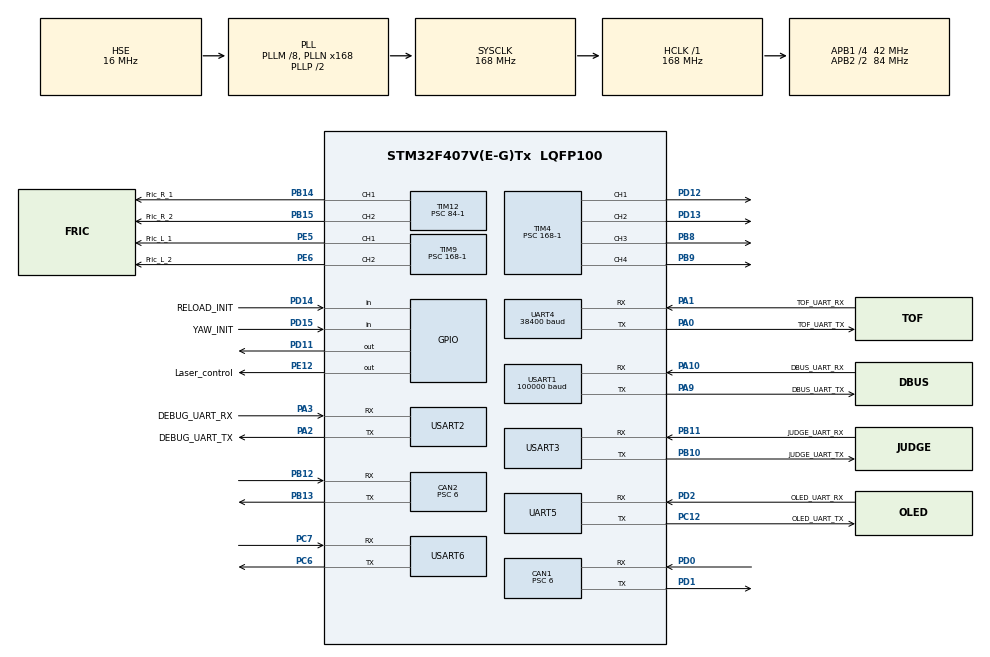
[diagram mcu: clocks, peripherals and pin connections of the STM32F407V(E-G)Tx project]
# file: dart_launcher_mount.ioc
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CAN1.ABOM=ENABLE
CAN1.BS1=CAN_BS1_3TQ
CAN1.BS2=CAN_BS2_3TQ
CAN1.CalculateBaudRate=1000000
CAN1.CalculateTimeBit=1000
CAN1.CalculateTimeQuantum=142.85714285714286
CAN1.Prescaler=6
CAN2.ABOM=ENABLE
CAN2.BS1=CAN_BS1_3TQ
CAN2.BS2=CAN_BS2_3TQ
CAN2.CalculateBaudRate=1000000
CAN2.CalculateTimeBit=1000
CAN2.CalculateTimeQuantum=142.85714285714286
CAN2.Prescaler=6
Dma.Request0=UART4_RX
Dma.Request1=UART4_TX
Dma.Request10=USART6_TX
Dma.Request11=USART6_RX
Dma.Request2=UART5_RX
Dma.Request3=UART5_TX
Dma.Request4=USART1_RX
Dma.Request5=USART1_TX
Dma.Request6=USART2_RX
Dma.Request7=USART2_TX
Dma.Request8=USART3_RX
Dma.Request9=USART3_TX
Dma.UART4_RX.0.Direction=DMA_PERIPH_TO_MEMORY
Dma.UART4_RX.0.FIFOMode=DMA_FIFOMODE_DISABLE
Dma.UART4_RX.0.Instance=DMA1_Stream2
Dma.UART4_RX.0.MemDataAlignment=DMA_MDATAALIGN_BYTE
Dma.UART4_RX.0.MemInc=DMA_MINC_ENABLE
Dma.UART4_RX.0.Mode=DMA_NORMAL
Dma.UART4_RX.0.PeriphDataAlignment=DMA_PDATAALIGN_BYTE
Dma.UART4_RX.0.PeriphInc=DMA_PINC_DISABLE
Dma.UART4_RX.0.Priority=DMA_PRIORITY_LOW
Dma.UART4_TX.1.Direction=DMA_MEMORY_TO_PERIPH
Dma.UART4_TX.1.FIFOMode=DMA_FIFOMODE_DISABLE
Dma.UART4_TX.1.Instance=DMA1_Stream4
Dma.UART4_TX.1.MemDataAlignment=DMA_MDATAALIGN_BYTE
Dma.UART4_TX.1.MemInc=DMA_MINC_ENABLE
Dma.UART4_TX.1.Mode=DMA_NORMAL
Dma.UART4_TX.1.PeriphDataAlignment=DMA_PDATAALIGN_BYTE
Dma.UART4_TX.1.PeriphInc=DMA_PINC_DISABLE
Dma.UART4_TX.1.Priority=DMA_PRIORITY_LOW
Dma.UART5_RX.2.Direction=DMA_PERIPH_TO_MEMORY
Dma.UART5_RX.2.FIFOMode=DMA_FIFOMODE_DISABLE
Dma.UART5_RX.2.Instance=DMA1_Stream0
Dma.UART5_RX.2.MemDataAlignment=DMA_MDATAALIGN_BYTE
Dma.UART5_RX.2.MemInc=DMA_MINC_ENABLE
Dma.UART5_RX.2.Mode=DMA_NORMAL
Dma.UART5_RX.2.PeriphDataAlignment=DMA_PDATAALIGN_BYTE
Dma.UART5_RX.2.PeriphInc=DMA_PINC_DISABLE
Dma.UART5_RX.2.Priority=DMA_PRIORITY_LOW
Dma.UART5_TX.3.Direction=DMA_MEMORY_TO_PERIPH
Dma.UART5_TX.3.FIFOMode=DMA_FIFOMODE_DISABLE
Dma.UART5_TX.3.Instance=DMA1_Stream7
Dma.UART5_TX.3.MemDataAlignment=DMA_MDATAALIGN_BYTE
Dma.UART5_TX.3.MemInc=DMA_MINC_ENABLE
Dma.UART5_TX.3.Mode=DMA_NORMAL
Dma.UART5_TX.3.PeriphDataAlignment=DMA_PDATAALIGN_BYTE
Dma.UART5_TX.3.PeriphInc=DMA_PINC_DISABLE
Dma.UART5_TX.3.Priority=DMA_PRIORITY_LOW
Dma.USART1_RX.4.Direction=DMA_PERIPH_TO_MEMORY
Dma.USART1_RX.4.FIFOMode=DMA_FIFOMODE_DISABLE
Dma.USART1_RX.4.Instance=DMA2_Stream2
Dma.USART1_RX.4.MemDataAlignment=DMA_MDATAALIGN_BYTE
Dma.USART1_RX.4.MemInc=DMA_MINC_ENABLE
Dma.USART1_RX.4.Mode=DMA_NORMAL
Dma.USART1_RX.4.PeriphDataAlignment=DMA_PDATAALIGN_BYTE
Dma.USART1_RX.4.PeriphInc=DMA_PINC_DISABLE
Dma.USART1_RX.4.Priority=DMA_PRIORITY_LOW
Dma.USART1_TX.5.Direction=DMA_MEMORY_TO_PERIPH
Dma.USART1_TX.5.FIFOMode=DMA_FIFOMODE_DISABLE
Dma.USART1_TX.5.Instance=DMA2_Stream7
Dma.USART1_TX.5.MemDataAlignment=DMA_MDATAALIGN_BYTE
Dma.USART1_TX.5.MemInc=DMA_MINC_ENABLE
Dma.USART1_TX.5.Mode=DMA_NORMAL
Dma.USART1_TX.5.PeriphDataAlignment=DMA_PDATAALIGN_BYTE
Dma.USART1_TX.5.PeriphInc=DMA_PINC_DISABLE
Dma.USART1_TX.5.Priority=DMA_PRIORITY_LOW
Dma.USART2_RX.6.Direction=DMA_PERIPH_TO_MEMORY
Dma.USART2_RX.6.FIFOMode=DMA_FIFOMODE_DISABLE
Dma.USART2_RX.6.Instance=DMA1_Stream5
Dma.USART2_RX.6.MemDataAlignment=DMA_MDATAALIGN_BYTE
Dma.USART2_RX.6.MemInc=DMA_MINC_ENABLE
Dma.USART2_RX.6.Mode=DMA_NORMAL
Dma.USART2_RX.6.PeriphDataAlignment=DMA_PDATAALIGN_BYTE
Dma.USART2_RX.6.PeriphInc=DMA_PINC_DISABLE
Dma.USART2_RX.6.Priority=DMA_PRIORITY_LOW
Dma.USART2_TX.7.Direction=DMA_MEMORY_TO_PERIPH
Dma.USART2_TX.7.FIFOMode=DMA_FIFOMODE_DISABLE
Dma.USART2_TX.7.Instance=DMA1_Stream6
Dma.USART2_TX.7.MemDataAlignment=DMA_MDATAALIGN_BYTE
Dma.USART2_TX.7.MemInc=DMA_MINC_ENABLE
Dma.USART2_TX.7.Mode=DMA_NORMAL
Dma.USART2_TX.7.PeriphDataAlignment=DMA_PDATAALIGN_BYTE
Dma.USART2_TX.7.PeriphInc=DMA_PINC_DISABLE
Dma.USART2_TX.7.Priority=DMA_PRIORITY_LOW
Dma.USART3_RX.8.Direction=DMA_PERIPH_TO_MEMORY
Dma.USART3_RX.8.FIFOMode=DMA_FIFOMODE_DISABLE
Dma.USART3_RX.8.Instance=DMA1_Stream1
Dma.USART3_RX.8.MemDataAlignment=DMA_MDATAALIGN_BYTE
Dma.USART3_RX.8.MemInc=DMA_MINC_ENABLE
Dma.USART3_RX.8.Mode=DMA_NORMAL
Dma.USART3_RX.8.PeriphDataAlignment=DMA_PDATAALIGN_BYTE
Dma.USART3_RX.8.PeriphInc=DMA_PINC_DISABLE
Dma.USART3_RX.8.Priority=DMA_PRIORITY_LOW
Dma.USART3_TX.9.Direction=DMA_MEMORY_TO_PERIPH
Dma.USART3_TX.9.FIFOMode=DMA_FIFOMODE_DISABLE
Dma.USART3_TX.9.Instance=DMA1_Stream3
Dma.USART3_TX.9.MemDataAlignment=DMA_MDATAALIGN_BYTE
Dma.USART3_TX.9.MemInc=DMA_MINC_ENABLE
Dma.USART3_TX.9.Mode=DMA_NORMAL
Dma.USART3_TX.9.PeriphDataAlignment=DMA_PDATAALIGN_BYTE
Dma.USART3_TX.9.PeriphInc=DMA_PINC_DISABLE
Dma.USART3_TX.9.Priority=DMA_PRIORITY_LOW
Dma.USART6_RX.11.Direction=DMA_PERIPH_TO_MEMORY
Dma.USART6_RX.11.FIFOMode=DMA_FIFOMODE_DISABLE
Dma.USART6_RX.11.Instance=DMA2_Stream1
Dma.USART6_RX.11.MemDataAlignment=DMA_MDATAALIGN_BYTE
Dma.USART6_RX.11.MemInc=DMA_MINC_ENABLE
Dma.USART6_RX.11.Mode=DMA_NORMAL
Dma.USART6_RX.11.PeriphDataAlignment=DMA_PDATAALIGN_BYTE
Dma.USART6_RX.11.PeriphInc=DMA_PINC_DISABLE
Dma.USART6_RX.11.Priority=DMA_PRIORITY_LOW
Dma.USART6_TX.10.Direction=DMA_MEMORY_TO_PERIPH
Dma.USART6_TX.10.FIFOMode=DMA_FIFOMODE_DISABLE
Dma.USART6_TX.10.Instance=DMA2_Stream6
Dma.USART6_TX.10.MemDataAlignment=DMA_MDATAALIGN_BYTE
Dma.USART6_TX.10.MemInc=DMA_MINC_ENABLE
Dma.USART6_TX.10.Mode=DMA_NORMAL
Dma.USART6_TX.10.PeriphDataAlignment=DMA_PDATAALIGN_BYTE
Dma.USART6_TX.10.PeriphInc=DMA_PINC_DISABLE
Dma.USART6_TX.10.Priority=DMA_PRIORITY_LOW
FREERTOS.INCLUDE_uxTaskGetStackHighWaterMark=1
FREERTOS.INCLUDE_vTaskDelayUntil=1
FREERTOS.Tasks01=defaultTask,0,128,StartDefaultTask,Default,NULL,Dynamic,NULL,NULL
FREERTOS.configUSE_CO_ROUTINES=0
FREERTOS.configUSE_TIMERS=1
Mcu.Family=STM32F4
Mcu.Name=STM32F407V(E-G)Tx
Mcu.Package=LQFP100
NVIC.CAN1_RX0_IRQn=true\:5\:0\:false\:false\:true\:true\:true\:true\:true
NVIC.CAN1_RX1_IRQn=true\:5\:0\:false\:false\:true\:true\:true\:true\:true
NVIC.CAN1_SCE_IRQn=true\:5\:0\:false\:false\:true\:true\:true\:true\:true
NVIC.CAN1_TX_IRQn=true\:5\:0\:false\:false\:true\:true\:true\:true\:true
NVIC.CAN2_RX0_IRQn=true\:5\:0\:false\:false\:true\:true\:true\:true\:true
NVIC.CAN2_RX1_IRQn=true\:5\:0\:false\:false\:true\:true\:true\:true\:true
NVIC.CAN2_SCE_IRQn=true\:5\:0\:false\:false\:true\:true\:true\:true\:true
NVIC.CAN2_TX_IRQn=true\:5\:0\:false\:false\:true\:true\:true\:true\:true
NVIC.DMA1_Stream0_IRQn=true\:5\:0\:false\:false\:true\:true\:false\:true\:true
NVIC.DMA1_Stream1_IRQn=true\:5\:0\:false\:false\:true\:true\:false\:true\:true
NVIC.DMA1_Stream2_IRQn=true\:5\:0\:false\:false\:true\:true\:false\:true\:true
NVIC.DMA1_Stream3_IRQn=true\:5\:0\:false\:false\:true\:true\:false\:true\:true
NVIC.DMA1_Stream4_IRQn=true\:5\:0\:false\:false\:true\:true\:false\:true\:true
NVIC.DMA1_Stream5_IRQn=true\:5\:0\:false\:false\:true\:true\:false\:true\:true
NVIC.DMA1_Stream6_IRQn=true\:5\:0\:false\:false\:true\:true\:false\:true\:true
NVIC.DMA1_Stream7_IRQn=true\:5\:0\:false\:false\:true\:true\:false\:true\:true
NVIC.DMA2_Stream1_IRQn=true\:5\:0\:false\:false\:true\:true\:false\:true\:true
NVIC.DMA2_Stream2_IRQn=true\:5\:0\:false\:false\:true\:true\:false\:true\:true
NVIC.DMA2_Stream6_IRQn=true\:5\:0\:false\:false\:true\:true\:false\:true\:true
NVIC.DMA2_Stream7_IRQn=true\:5\:0\:false\:false\:true\:true\:false\:true\:true
NVIC.PriorityGroup=NVIC_PRIORITYGROUP_4
NVIC.TIM1_BRK_TIM9_IRQn=true\:5\:0\:false\:false\:true\:true\:true\:true\:true
NVIC.TIM2_IRQn=true\:15\:0\:false\:false\:true\:false\:false\:true\:true
NVIC.TIM3_IRQn=true\:5\:0\:false\:false\:true\:true\:true\:true\:true
NVIC.TIM4_IRQn=true\:5\:0\:false\:false\:true\:true\:true\:true\:true
NVIC.TIM5_IRQn=true\:5\:0\:false\:false\:true\:true\:true\:true\:true
NVIC.TIM8_BRK_TIM12_IRQn=true\:5\:0\:false\:false\:true\:true\:true\:true\:true
NVIC.TimeBase=TIM2_IRQn
NVIC.TimeBaseIP=TIM2
NVIC.UART4_IRQn=true\:5\:0\:false\:false\:true\:true\:false\:true\:true
NVIC.UART5_IRQn=true\:5\:0\:false\:false\:true\:true\:false\:true\:true
NVIC.USART1_IRQn=true\:5\:0\:false\:false\:true\:true\:false\:true\:true
NVIC.USART2_IRQn=true\:5\:0\:false\:false\:true\:true\:false\:true\:true
NVIC.USART3_IRQn=true\:5\:0\:false\:false\:true\:true\:true\:true\:true
NVIC.USART6_IRQn=true\:5\:0\:false\:false\:true\:true\:false\:true\:true
PA0-WKUP.GPIO_Label=TOF_UART_TX
PA0-WKUP.Mode=Asynchronous
PA0-WKUP.Signal=UART4_TX
PA1.GPIO_Label=TOF_UART_RX
PA1.Mode=Asynchronous
PA1.Signal=UART4_RX
PA10.GPIO_Label=DBUS_UART_RX
PA10.Mode=Asynchronous
PA10.Signal=USART1_RX
PA13.Mode=Serial_Wire
PA13.Signal=SYS_JTMS-SWDIO
PA14.Mode=Serial_Wire
PA14.Signal=SYS_JTCK-SWCLK
PA2.GPIO_Label=DEBUG_UART_TX
PA2.Mode=Asynchronous
PA2.Signal=USART2_TX
PA3.GPIO_Label=DEBUG_UART_RX
PA3.Mode=Asynchronous
PA3.Signal=USART2_RX
PA9.GPIO_Label=DBUS_UART_TX
PA9.Mode=Asynchronous
PA9.Signal=USART1_TX
PB10.GPIO_Label=JUDGE_UART_TX
PB10.Mode=Asynchronous
PB10.Signal=USART3_TX
PB11.GPIO_Label=JUDGE_UART_RX
PB11.Mode=Asynchronous
PB11.Signal=USART3_RX
PB12.Mode=CAN_Activate
PB12.Signal=CAN2_RX
PB13.Mode=CAN_Activate
PB13.Signal=CAN2_TX
PB14.GPIO_Label=Fric_R_1
PB14.Signal=S_TIM12_CH1
PB15.GPIO_Label=Fric_R_2
PB15.Signal=S_TIM12_CH2
PB8.Signal=S_TIM4_CH3
PB9.Signal=S_TIM4_CH4
PC12.GPIO_Label=OLED_UART_TX
PC12.Mode=Asynchronous
PC12.Signal=UART5_TX
PC6.Mode=Asynchronous
PC6.Signal=USART6_TX
PC7.Mode=Asynchronous
PC7.Signal=USART6_RX
PD0.Mode=CAN_Activate
PD0.Signal=CAN1_RX
PD1.Mode=CAN_Activate
PD1.Signal=CAN1_TX
PD11.Signal=GPIO_Output
PD12.Signal=S_TIM4_CH1
PD13.Signal=S_TIM4_CH2
PD14.GPIO_Label=RELOAD_INIT
PD14.GPIO_PuPd=GPIO_PULLUP
PD14.Signal=GPIO_Input
PD15.GPIO_Label=YAW_INIT
PD15.GPIO_PuPd=GPIO_PULLUP
PD15.Signal=GPIO_Input
PD2.GPIO_Label=OLED_UART_RX
PD2.Mode=Asynchronous
PD2.Signal=UART5_RX
PE12.GPIO_Label=Laser_control
PE12.Signal=GPIO_Output
PE5.GPIO_Label=Fric_L_1
PE5.Signal=S_TIM9_CH1
PE6.GPIO_Label=Fric_L_2
PE6.Signal=S_TIM9_CH2
PH0-OSC_IN.Mode=HSE-External-Oscillator
PH0-OSC_IN.Signal=RCC_OSC_IN
PH1-OSC_OUT.Mode=HSE-External-Oscillator
PH1-OSC_OUT.Signal=RCC_OSC_OUT
ProjectManager.HeapSize=0x1000
ProjectManager.StackSize=0x600
ProjectManager.TargetToolchain=MDK-ARM V5.32
RCC.48MHZClocksFreq_Value=84000000
RCC.AHBFreq_Value=168000000
RCC.APB1CLKDivider=RCC_HCLK_DIV4
RCC.APB1Freq_Value=42000000
RCC.APB1TimFreq_Value=84000000
RCC.APB2CLKDivider=RCC_HCLK_DIV2
RCC.APB2Freq_Value=84000000
RCC.APB2TimFreq_Value=168000000
RCC.CortexFreq_Value=168000000
RCC.HCLKFreq_Value=168000000
RCC.HSE_VALUE=16000000
RCC.HSI_VALUE=16000000
RCC.LSE_VALUE=32768
RCC.PLLM=8
RCC.PLLN=168
RCC.PLLSourceVirtual=RCC_PLLSOURCE_HSE
RCC.SYSCLKFreq_VALUE=168000000
RCC.SYSCLKSource=RCC_SYSCLKSOURCE_PLLCLK
RCC.VCOOutputFreq_Value=336000000
SH.S_TIM12_CH1.0=TIM12_CH1,PWM Generation1 CH1
SH.S_TIM12_CH2.0=TIM12_CH2,PWM Generation2 CH2
SH.S_TIM4_CH1.0=TIM4_CH1,PWM Generation1 CH1
SH.S_TIM4_CH2.0=TIM4_CH2,PWM Generation2 CH2
SH.S_TIM4_CH3.0=TIM4_CH3,PWM Generation3 CH3
SH.S_TIM4_CH4.0=TIM4_CH4,PWM Generation4 CH4
SH.S_TIM9_CH1.0=TIM9_CH1,PWM Generation1 CH1
SH.S_TIM9_CH2.0=TIM9_CH2,PWM Generation2 CH2
TIM12.Channel-PWM\ Generation1\ CH1=TIM_CHANNEL_1
TIM12.Channel-PWM\ Generation2\ CH2=TIM_CHANNEL_2
TIM12.Prescaler=84-1
TIM3.Period=999
TIM3.Prescaler=41
TIM4.Channel-PWM\ Generation1\ CH1=TIM_CHANNEL_1
TIM4.Channel-PWM\ Generation2\ CH2=TIM_CHANNEL_2
TIM4.Channel-PWM\ Generation3\ CH3=TIM_CHANNEL_3
TIM4.Channel-PWM\ Generation4\ CH4=TIM_CHANNEL_4
TIM4.Prescaler=168-1
TIM5.Prescaler=8400-1
TIM9.Channel-PWM\ Generation1\ CH1=TIM_CHANNEL_1
TIM9.Channel-PWM\ Generation2\ CH2=TIM_CHANNEL_2
TIM9.Prescaler=168-1
UART4.BaudRate=38400
UART4.VirtualMode=Asynchronous
UART5.VirtualMode=Asynchronous
USART1.BaudRate=100000
USART1.Parity=PARITY_EVEN
USART1.VirtualMode=VM_ASYNC
USART1.WordLength=WORDLENGTH_9B
USART2.VirtualMode=VM_ASYNC
USART3.VirtualMode=VM_ASYNC
USART6.VirtualMode=VM_ASYNC
VP_FREERTOS_VS_CMSIS_V1.Mode=CMSIS_V1
VP_SYS_VS_tim2.Mode=TIM2
VP_TIM12_VS_ClockSourceINT.Mode=Internal
VP_TIM3_VS_ClockSourceINT.Mode=Internal
VP_TIM4_VS_ClockSourceINT.Mode=Internal
VP_TIM5_VS_ClockSourceINT.Mode=Internal
VP_TIM9_VS_ClockSourceINT.Mode=Internal
board=custom

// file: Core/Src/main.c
/* USER CODE BEGIN Header */
/**
  ******************************************************************************
  * @file           : main.c
  * @brief          : Main program body
  ******************************************************************************
  * @attention
  *
  * Copyright (c) 2025 STMicroelectronics.
  * All rights reserved.
  *
  * This software is licensed under terms that can be found in the LICENSE file
  * in the root directory of this software component.
  * If no LICENSE file comes with this software, it is provided AS-IS.
  *
  ******************************************************************************
  */
/* USER CODE END Header */
#include "main.h"
#include "cmsis_os.h"
#include "can.h"
#include "dma.h"
#include "tim.h"
#include "usart.h"
#include "gpio.h"

/* USER CODE BEGIN Includes */
#include "can_comm.h"
#include "reload_task.h"
#include "bsp_usart.h"
#include "micro_swicth.h"
/* USER CODE END Includes */

void SystemClock_Config(void);
void MX_FREERTOS_Init(void);

int main(void)
{

  /* MCU Configuration--------------------------------------------------------*/

  /* Reset of all peripherals, Initializes the Flash interface and the Systick. */
  HAL_Init();

  /* Configure the system clock */
  SystemClock_Config();

  /* Initialize all configured peripherals */
  MX_GPIO_Init();
  MX_DMA_Init();
  MX_CAN1_Init();
  MX_CAN2_Init();
  MX_UART4_Init();
  MX_UART5_Init();
  MX_USART1_UART_Init();
  MX_USART2_UART_Init();
  MX_USART3_UART_Init();
  MX_USART6_UART_Init();
  MX_TIM4_Init();
  MX_TIM5_Init();
  MX_TIM9_Init();
  MX_TIM12_Init();
  MX_TIM3_Init();
  /* USER CODE BEGIN 2 */
	Can_Device_Init();
	USER_UART_Init();
	HAL_TIM_Base_Start_IT(&htim3);
  /* USER CODE END 2 */

  /* Call init function for freertos objects (in cmsis_os2.c) */
  MX_FREERTOS_Init();

  /* Start scheduler */
  osKernelStart();

  /* We should never get here as control is now taken by the scheduler */

  /* Infinite loop */
  while (1)
  {

  }
}

void SystemClock_Config(void)
{
  RCC_OscInitTypeDef RCC_OscInitStruct = {0};
  RCC_ClkInitTypeDef RCC_ClkInitStruct = {0};

  /** Configure the main internal regulator output voltage
  */
  __HAL_RCC_PWR_CLK_ENABLE();
  __HAL_PWR_VOLTAGESCALING_CONFIG(PWR_REGULATOR_VOLTAGE_SCALE1);

  /** Initializes the RCC Oscillators according to the specified parameters
  * in the RCC_OscInitTypeDef structure.
  */
  RCC_OscInitStruct.OscillatorType = RCC_OSCILLATORTYPE_HSE;
  RCC_OscInitStruct.HSEState = RCC_HSE_ON;
  RCC_OscInitStruct.PLL.PLLState = RCC_PLL_ON;
  RCC_OscInitStruct.PLL.PLLSource = RCC_PLLSOURCE_HSE;
  RCC_OscInitStruct.PLL.PLLM = 8;
  RCC_OscInitStruct.PLL.PLLN = 168;
  RCC_OscInitStruct.PLL.PLLP = RCC_PLLP_DIV2;
  RCC_OscInitStruct.PLL.PLLQ = 4;
  if (HAL_RCC_OscConfig(&RCC_OscInitStruct) != HAL_OK)
  {
    Error_Handler();
  }

  /** Initializes the CPU, AHB and APB buses clocks
  */
  RCC_ClkInitStruct.ClockType = RCC_CLOCKTYPE_HCLK|RCC_CLOCKTYPE_SYSCLK
                              |RCC_CLOCKTYPE_PCLK1|RCC_CLOCKTYPE_PCLK2;
  RCC_ClkInitStruct.SYSCLKSource = RCC_SYSCLKSOURCE_PLLCLK;
  RCC_ClkInitStruct.AHBCLKDivider = RCC_SYSCLK_DIV1;
  RCC_ClkInitStruct.APB1CLKDivider = RCC_HCLK_DIV4;
  RCC_ClkInitStruct.APB2CLKDivider = RCC_HCLK_DIV2;

  if (HAL_RCC_ClockConfig(&RCC_ClkInitStruct, FLASH_LATENCY_5) != HAL_OK)
  {
    Error_Handler();
  }
}

void HAL_TIM_PeriodElapsedCallback(TIM_HandleTypeDef *htim)
{
  /* USER CODE BEGIN Callback 0 */
	if (htim->Instance == TIM3)//1ms��ʱ��
	{
		MicroSwicth_Callback();
		Reload_Tick();
	}
  /* USER CODE END Callback 0 */
  if (htim->Instance == TIM2)
  {
    HAL_IncTick();
  }
}

void Error_Handler(void)
{
  __disable_irq();
  while (1)
  {
  }
}

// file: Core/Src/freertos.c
/* USER CODE BEGIN Header */
/**
  ******************************************************************************
  * File Name          : freertos.c
  * Description        : Code for freertos applications
  ******************************************************************************
  * @attention
  *
  * Copyright (c) 2025 STMicroelectronics.
  * All rights reserved.
  *
  * This software is licensed under terms that can be found in the LICENSE file
  * in the root directory of this software component.
  * If no LICENSE file comes with this software, it is provided AS-IS.
  *
  ******************************************************************************
  */
/* USER CODE END Header */

#include "FreeRTOS.h"
#include "task.h"
#include "main.h"
#include "cmsis_os.h"

/* USER CODE BEGIN Includes */
#include "can_comm.h"

#include "shoot_task.h"
#include "reload_task.h"
#include "gimbal_task.h"

#include "temp_task.h"

#include "modeswitch_task.h"

#include "debug_task.h"
/* USER CODE END Includes */

osThreadId defaultTaskHandle;

/* USER CODE BEGIN FunctionPrototypes */
osThreadId can_send_task_handle;

osThreadId shoot_task_handle;
osThreadId reload_task_handle;
osThreadId giambal_task_handle;
osThreadId modeswitch_task_handle;

osThreadId temp_task_handle;
osThreadId serial_screen_task_handle;

osThreadId debug_task_handle;
/* USER CODE END FunctionPrototypes */

void StartDefaultTask(void const * argument);

void MX_FREERTOS_Init(void); /* (MISRA C 2004 rule 8.1) */

/* GetIdleTaskMemory prototype (linked to static allocation support) */
void vApplicationGetIdleTaskMemory( StaticTask_t **ppxIdleTaskTCBBuffer, StackType_t **ppxIdleTaskStackBuffer, uint32_t *pulIdleTaskStackSize );

/* GetTimerTaskMemory prototype (linked to static allocation support) */
void vApplicationGetTimerTaskMemory( StaticTask_t **ppxTimerTaskTCBBuffer, StackType_t **ppxTimerTaskStackBuffer, uint32_t *pulTimerTaskStackSize );

/* USER CODE BEGIN GET_IDLE_TASK_MEMORY */
static StaticTask_t xIdleTaskTCBBuffer;
static StackType_t xIdleStack[configMINIMAL_STACK_SIZE];

void vApplicationGetIdleTaskMemory( StaticTask_t **ppxIdleTaskTCBBuffer, StackType_t **ppxIdleTaskStackBuffer, uint32_t *pulIdleTaskStackSize )
{
  *ppxIdleTaskTCBBuffer = &xIdleTaskTCBBuffer;
  *ppxIdleTaskStackBuffer = &xIdleStack[0];
  *pulIdleTaskStackSize = configMINIMAL_STACK_SIZE;
  /* place for user code */
}
/* USER CODE END GET_IDLE_TASK_MEMORY */

/* USER CODE BEGIN GET_TIMER_TASK_MEMORY */
static StaticTask_t xTimerTaskTCBBuffer;
static StackType_t xTimerStack[configTIMER_TASK_STACK_DEPTH];

void vApplicationGetTimerTaskMemory( StaticTask_t **ppxTimerTaskTCBBuffer, StackType_t **ppxTimerTaskStackBuffer, uint32_t *pulTimerTaskStackSize )
{
  *ppxTimerTaskTCBBuffer = &xTimerTaskTCBBuffer;
  *ppxTimerTaskStackBuffer = &xTimerStack[0];
  *pulTimerTaskStackSize = configTIMER_TASK_STACK_DEPTH;
  /* place for user code */
}
/* USER CODE END GET_TIMER_TASK_MEMORY */

void MX_FREERTOS_Init(void) {

  /* Create the thread(s) */
  /* definition and creation of defaultTask */
  osThreadDef(defaultTask, StartDefaultTask, osPriorityNormal, 0, 128);
  defaultTaskHandle = osThreadCreate(osThread(defaultTask), NULL);

  /* USER CODE BEGIN RTOS_THREADS */
  /* add threads, ... */
  taskENTER_CRITICAL();
/**************************High Priority****************************/
    osThreadDef(canSendTask, Can_Send_Task, osPriorityHigh, 0, 256);
	can_send_task_handle = osThreadCreate(osThread(canSendTask), NULL);

/**************************osPriorityAboveNormal Priority****************************/

	osThreadDef(shootTask, Shoot_Task, osPriorityAboveNormal, 0, 256);
	shoot_task_handle = osThreadCreate(osThread(shootTask), NULL);

	osThreadDef(gimbalTask, Gimbal_Task, osPriorityAboveNormal, 0, 256);
	reload_task_handle = osThreadCreate(osThread(gimbalTask), NULL);

	osThreadDef(reloadTask, Reload_Task, osPriorityAboveNormal, 0, 256);
	giambal_task_handle = osThreadCreate(osThread(reloadTask), NULL);

/**************************osPriorityAboveNormal Priority****************************/
	osThreadDef(tempTask, Temp_Task, osPriorityAboveNormal, 0, 256);
	temp_task_handle = osThreadCreate(osThread(tempTask), NULL);

	osThreadDef(screenTask, Serial_Screen_Task, osPriorityAboveNormal, 0, 256);
	serial_screen_task_handle = osThreadCreate(osThread(screenTask), NULL);

/**************************osPriorityNormal Priority****************************/
	osThreadDef(modeswitchTask, ModeSwitch_Task, osPriorityNormal, 0, 256);
	modeswitch_task_handle = osThreadCreate(osThread(modeswitchTask), NULL);

/**************************Low Priority****************************/
	osThreadDef(debugTask, Debug_Task, osPriorityLow, 0, 500);
	debug_task_handle = osThreadCreate(osThread(debugTask), NULL);
	taskEXIT_CRITICAL();
  /* USER CODE END RTOS_THREADS */

}

void StartDefaultTask(void const * argument)
{
  for(;;)
  {
    osDelay(1);
  }
}
